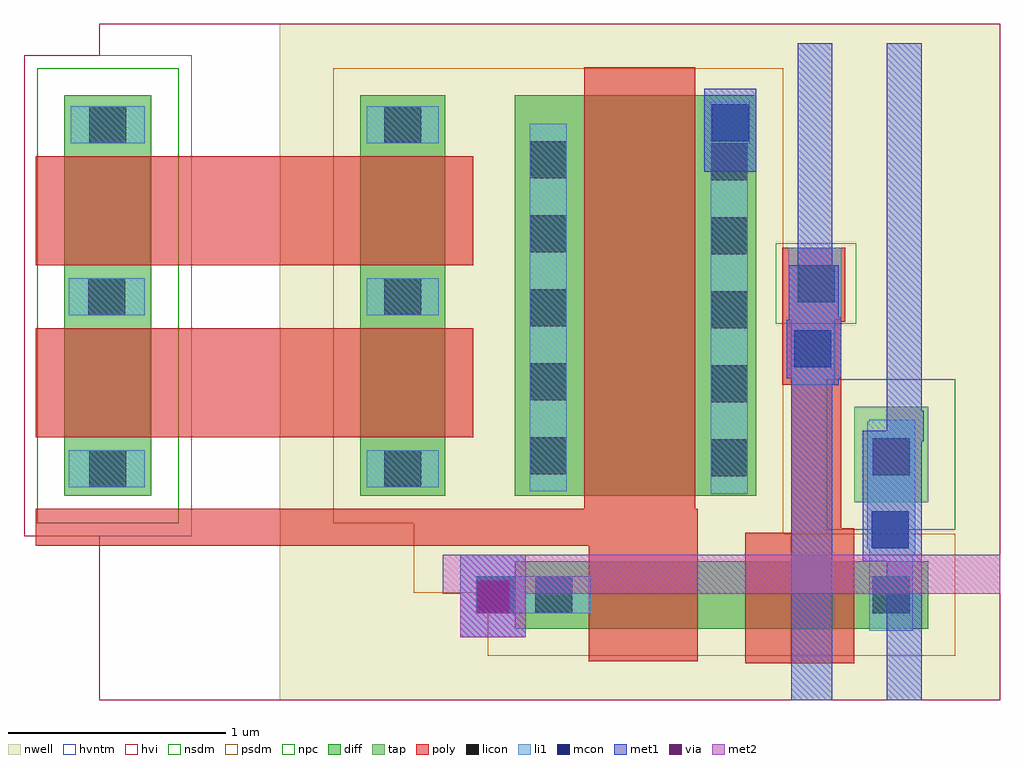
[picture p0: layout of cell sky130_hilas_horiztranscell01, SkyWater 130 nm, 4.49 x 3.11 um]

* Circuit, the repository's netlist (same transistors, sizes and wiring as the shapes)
* Copyright 2020 The Hilas PDK Authors
* 
* This file is part of HILAS.
* 
* HILAS is free software: you can redistribute it and/or modify
* it under the terms of the GNU Lesser General Public License as published by
* the Free Software Foundation, version 3 of the License.
* 
* HILAS is distributed in the hope that it will be useful,
* but WITHOUT ANY WARRANTY; without even the implied warranty of
* MERCHANTABILITY or FITNESS FOR A PARTICULAR PURPOSE.  See the
* GNU Lesser General Public License for more details.
* 
* You should have received a copy of the GNU Lesser General Public License
* along with HILAS.  If not, see <https://www.gnu.org/licenses/>.
* 
* Licensed under the Lesser General Public License, Version 3.0 (the "License");
* you may not use this file except in compliance with the License.
* You may obtain a copy of the License at
* 
* https://www.gnu.org/licenses/lgpl-3.0.en.html
* 
* Unless required by applicable law or agreed to in writing, software
* distributed under the License is distributed on an "AS IS" BASIS,
* WITHOUT WARRANTIES OR CONDITIONS OF ANY KIND, either express or implied.
* See the License for the specific language governing permissions and
* limitations under the License.
* 
* SPDX-License-Identifier: LGPL-3.0
* 
* 

* NGSPICE file created from sky130_hilas_horizTransCell01.ext - technology: sky130A


* Top level circuit sky130_hilas_horizTransCell01

X0 w_n728_96# a_n300_130# a_n344_162# w_n728_96# sky130_fd_pr__pfet_g5v0d10v5 w=310000u l=500000u
X1 a_n346_284# a_n952_238# a_n512_284# w_n728_96# sky130_fd_pr__pfet_g5v0d10v5 w=1.84e+06u l=510000u
X2 a_n654_438# a_n952_338# a_n654_284# w_n728_96# sky130_fd_pr__pfet_g5v0d10v5 w=390000u l=500000u
X3 a_n654_596# a_n952_496# a_n654_438# w_n728_96# sky130_fd_pr__pfet_g5v0d10v5 w=390000u l=500000u
X4 a_n926_438# a_n952_338# a_n926_284# SUB sky130_fd_pr__nfet_g5v0d10v5 w=400000u l=500000u
X5 a_n926_596# a_n952_496# a_n926_438# SUB sky130_fd_pr__nfet_g5v0d10v5 w=400000u l=500000u
X6 a_n344_162# a_n952_238# a_n512_162# w_n728_96# sky130_fd_pr__pfet_g5v0d10v5 w=310000u l=500000u
.end

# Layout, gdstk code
import gdstk
lib = gdstk.Library(unit=1e-6, precision=1e-09)
def R(c, l, rs):  # rectangles x0, y0, x1, y1
    for r in rs: c.add(gdstk.rectangle(r[:2], r[2:], *l))
def A(c, l, x, y, w, h, nx, ny, dx, dy):  # array of equal rectangles
    R(c, l, [(x+i*dx, y+j*dy, x+i*dx+w, y+j*dy+h) for i in range(nx) for j in range(ny)])
nwell = (64, 20)
diff = (65, 20)
tap = (65, 44)
poly = (66, 20)
licon = (66, 44)
li1 = (67, 20)
mcon = (67, 44)
met1 = (68, 20)
via = (68, 44)
met2 = (69, 20)
hvi = (75, 20)
nsdm = (93, 44)
psdm = (94, 20)
npc = (95, 20)
hvntm = (125, 20)

sky130_hilas_horiztransc = lib.new_cell('sky130_hilas_horiztranscell01')
R(sky130_hilas_horiztransc, nwell, [(-3.64,0.48,-0.33,3.59)])
R(sky130_hilas_horiztransc, diff, [(-2.56,0.81,-0.66,1.12), (-4.63,1.42,-4.23,3.26), (-3.27,1.42,-2.88,3.26), (-2.56,1.42,-1.45,3.26)])
R(sky130_hilas_horiztransc, tap, [(-1,1.39,-0.66,1.83)])
R(sky130_hilas_horiztransc, poly, [(-1.5,0.65,-1,1.25), (-2.22,0.66,-1.72,1.19), (-4.76,1.19,-1.72,1.36), (-1.29,1.25,-1,1.27), (-1.29,1.27,-1.06,1.93), (-2.24,1.36,-1.73,3.39), (-4.76,1.69,-2.75,2.19), (-1.33,1.93,-1.06,2.22), (-1.33,2.22,-1.04,2.56), (-4.76,2.48,-2.75,2.98)])
A(sky130_hilas_horiztransc, licon, -3.16, 1.46, 0.17, 0.17, 1, 3, 0, 0.79)
A(sky130_hilas_horiztransc, licon, -1.66, 1.51, 0.17, 0.17, 1, 5, 0, 0.34)
A(sky130_hilas_horiztransc, licon, -2.49, 1.52, 0.17, 0.17, 1, 5, 0, 0.34)
R(sky130_hilas_horiztransc, licon, [(-2.465,0.88,-2.295,1.05), (-0.915,0.88,-0.745,1.05), (-4.515,1.46,-4.345,1.63), (-0.915,1.515,-0.745,1.685), (-4.52,2.25,-4.35,2.42), (-1.26,2.31,-1.09,2.48), (-4.515,3.04,-4.345,3.21)])
A(sky130_hilas_horiztransc, li1, -3.24, 1.46, 0.33, 0.17, 1, 3, 0, 0.79)
R(sky130_hilas_horiztransc, li1, [(-0.93,0.8,-0.73,1.15), (-2.74,0.88,-2.21,1.05), (-0.93,1.15,-0.72,1.18), (-0.94,1.18,-0.72,1.76), (-1.66,1.43,-1.49,3.04), (-2.49,1.44,-2.32,3.13), (-4.61,1.46,-4.26,1.63), (-0.93,1.76,-0.72,1.77), (-1.29,1.93,-1.1,1.94), (-1.29,1.94,-1.09,2.23), (-1.3,2.23,-1.06,2.56), (-4.61,2.25,-4.26,2.42), (-4.6,3.04,-4.26,3.21), (-1.66,3.04,-1.48,3.23)])
R(sky130_hilas_horiztransc, mcon, [(-2.735,0.88,-2.565,1.05), (-0.92,1.18,-0.75,1.35), (-1.275,2.01,-1.105,2.18), (-1.655,3.05,-1.485,3.22)])
R(sky130_hilas_horiztransc, met1, [(-1.29,0.48,-1.1,1.93), (-0.85,0.48,-0.69,1.12), (-2.81,0.77,-2.51,1.15), (-0.96,1.12,-0.69,1.67), (-0.96,1.67,-0.68,1.72), (-0.85,1.72,-0.68,1.81), (-0.85,1.81,-0.69,3.5), (-1.29,1.93,-1.07,1.96), (-1.31,1.96,-1.06,2.23), (-1.3,2.23,-1.06,2.24), (-1.3,2.24,-1.07,2.48), (-1.26,2.48,-1.1,3.5), (-1.69,2.91,-1.45,3.29)])
R(sky130_hilas_horiztransc, via, [(-2.735,0.88,-2.585,1.03)])
R(sky130_hilas_horiztransc, met2, [(-2.81,0.77,-2.51,0.97), (-2.89,0.97,-0.33,1.15)])
R(sky130_hilas_horiztransc, hvi, [(-4.47,0.48,-0.33,1.235), (-4.815,1.235,-0.33,3.445), (-4.47,3.445,-0.33,3.59)])
R(sky130_hilas_horiztransc, nsdm, [(-1.125,1.265,-0.535,1.955), (-4.755,1.295,-4.105,3.385)])
R(sky130_hilas_horiztransc, psdm, [(-2.685,0.685,-0.535,0.975), (-3.025,0.975,-0.535,1.245), (-3.025,1.245,-1.325,1.295), (-3.395,1.295,-1.325,3.385)])
R(sky130_hilas_horiztransc, npc, [(-1.36,2.21,-0.99,2.58)])
R(sky130_hilas_horiztransc, hvntm, [(-4.815,1.235,-4.045,3.445)])

lib.write_gds('sky130_hilas_horiztranscell01.gds')
